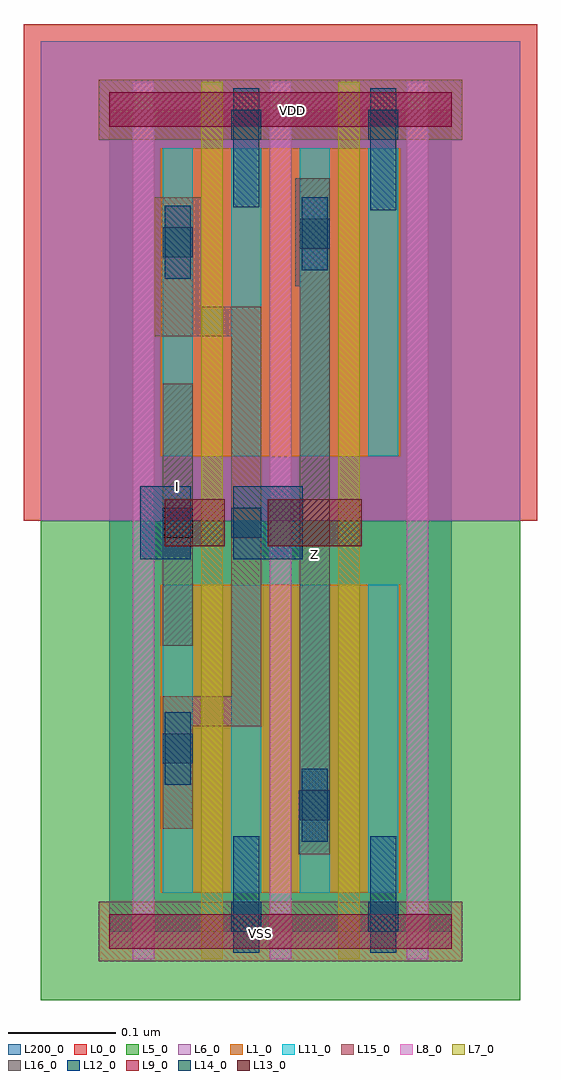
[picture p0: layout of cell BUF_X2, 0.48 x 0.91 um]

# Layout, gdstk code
import gdstk
lib = gdstk.Library(unit=1e-6, precision=1e-09)
def R(c, l, rs):  # rectangles x0, y0, x1, y1
    for r in rs: c.add(gdstk.rectangle(r[:2], r[2:], *l))
def A(c, l, x, y, w, h, nx, ny, dx, dy):  # array of equal rectangles
    R(c, l, [(x+i*dx, y+j*dy, x+i*dx+w, y+j*dy+h) for i in range(nx) for j in range(ny)])
def P(c, l, *ps):  # polygons
    for p in ps: c.add(gdstk.Polygon(p, *l))
L0_0 = (0, 0)
L1_0 = (1, 0)
L5_0 = (5, 0)
L6_0 = (6, 0)
L7_0 = (7, 0)
L8_0 = (8, 0)
L9_0 = (9, 0)
L11_0 = (11, 0)
L12_0 = (12, 0)
L13_0 = (13, 0)
L14_0 = (14, 0)
L15_0 = (15, 0)
L16_0 = (16, 0)
L200_0 = (200, 0)

buf_x2 = lib.new_cell('BUF_X2')
R(buf_x2, L0_0, [(-0.08,0.384,0.4,0.848)])
R(buf_x2, L1_0, [(0.048,0.036,0.272,0.324), (0.048,0.444,0.272,0.732)])
R(buf_x2, L5_0, [(-0.064,-0.064,0.384,0.384)])
R(buf_x2, L6_0, [(-0.064,0.384,0.384,0.832)])
R(buf_x2, L7_0, [(0.086,-0.026,0.106,0.794), (0.214,-0.026,0.234,0.794)])
A(buf_x2, L8_0, 0.022, -0.026, 0.02, 0.82, 3, 1, 0.128, 0)
R(buf_x2, L9_0, [(0,-0.016,0.32,0.016), (0,0.752,0.32,0.784)])
A(buf_x2, L11_0, 0.05, 0.036, 0.028, 0.288, 4, 2, 0.064, 0.408)
R(buf_x2, L12_0, [(0.116,-0.02,0.14,0.089), (0.244,-0.02,0.268,0.089), (0.18,0.084,0.204,0.152), (0.052,0.137,0.076,0.205), (0.029,0.348,0.076,0.416), (0.116,0.348,0.181,0.416), (0.052,0.61,0.076,0.678), (0.18,0.618,0.204,0.686), (0.244,0.674,0.268,0.788), (0.116,0.677,0.14,0.788)])
R(buf_x2, L13_0, [(0.052,0.36,0.108,0.404), (0.148,0.36,0.236,0.404)])
R(buf_x2, L14_0, [(0.114,0,0.142,0.028), (0.242,0,0.27,0.028), (0.178,0.104,0.206,0.132), (0.05,0.157,0.078,0.185), (0.05,0.368,0.078,0.396), (0.114,0.368,0.142,0.396), (0.05,0.63,0.078,0.658), (0.178,0.638,0.206,0.666), (0.114,0.74,0.142,0.768), (0.242,0.74,0.27,0.768)])
R(buf_x2, L15_0, [(-0.01,-0.028,0.33,0.028), (-0.01,0.74,0.33,0.796)])
P(buf_x2, L15_0, [(0.042,0.556),(0.114,0.556),(0.114,0.22),(0.05,0.22),(0.05,0.096),(0.078,0.096),(0.078,0.192),(0.142,0.192),(0.142,0.584),(0.086,0.584),(0.086,0.686),(0.042,0.686)])
R(buf_x2, L16_0, [(0.05,0.267,0.078,0.512)])
P(buf_x2, L16_0, [(0.174,0.603),(0.178,0.603),(0.178,0.132),(0.177,0.132),(0.177,0.072),(0.206,0.072),(0.206,0.704),(0.174,0.704)])
R(buf_x2, L200_0, [(0,0,0.32,0.768)])
buf_x2.add(gdstk.Label('VSS', (0.141,-0.002), layer=15, texttype=20))
buf_x2.add(gdstk.Label('VDD', (0.171,0.767), layer=15, texttype=20))
buf_x2.add(gdstk.Label('I', (0.064,0.416), layer=16, texttype=20))
buf_x2.add(gdstk.Label('Z', (0.192,0.352), layer=16, texttype=20))

lib.write_gds('BUF_X2.gds')
